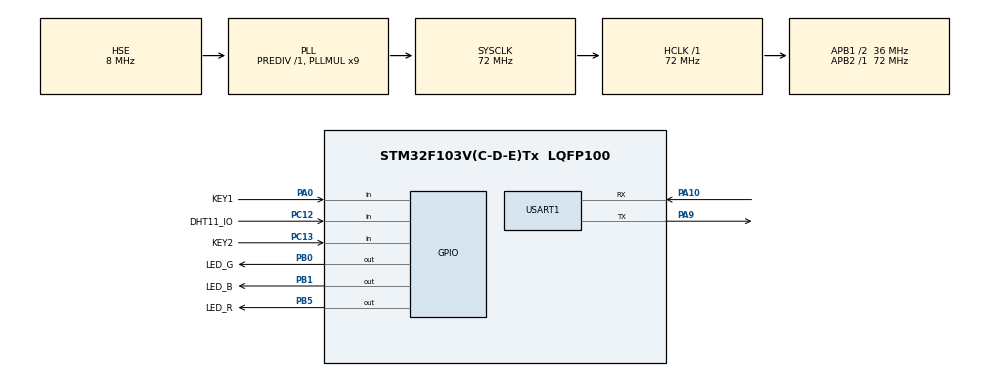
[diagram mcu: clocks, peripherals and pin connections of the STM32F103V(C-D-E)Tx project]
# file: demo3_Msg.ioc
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Mcu.Family=STM32F1
Mcu.Name=STM32F103V(C-D-E)Tx
Mcu.Package=LQFP100
NVIC.PriorityGroup=NVIC_PRIORITYGROUP_1
NVIC.USART1_IRQn=true\:0\:0\:false\:false\:true\:true\:true\:true
OSC_IN.Mode=HSE-External-Oscillator
OSC_IN.Signal=RCC_OSC_IN
OSC_OUT.Mode=HSE-External-Oscillator
OSC_OUT.Signal=RCC_OSC_OUT
PA0-WKUP.GPIO_Label=KEY1
PA0-WKUP.GPIO_PuPd=GPIO_PULLUP
PA0-WKUP.Signal=GPIO_Input
PA10.Mode=Asynchronous
PA10.Signal=USART1_RX
PA13.Mode=JTAG_5_pins
PA13.Signal=SYS_JTMS-SWDIO
PA14.Mode=JTAG_5_pins
PA14.Signal=SYS_JTCK-SWCLK
PA15.Mode=JTAG_5_pins
PA15.Signal=SYS_JTDI
PA9.Mode=Asynchronous
PA9.Signal=USART1_TX
PB0.GPIO_Label=LED_G
PB0.PinState=GPIO_PIN_SET
PB0.Signal=GPIO_Output
PB1.GPIO_Label=LED_B
PB1.PinState=GPIO_PIN_SET
PB1.Signal=GPIO_Output
PB3.Mode=JTAG_5_pins
PB3.Signal=SYS_JTDO-TRACESWO
PB4.Mode=JTAG_5_pins
PB4.Signal=SYS_NJTRST
PB5.GPIO_Label=LED_R
PB5.PinState=GPIO_PIN_SET
PB5.Signal=GPIO_Output
PC12.GPIO_Label=DHT11_IO
PC12.GPIO_PuPd=GPIO_PULLUP
PC12.Signal=GPIO_Input
PC13-TAMPER-RTC.GPIO_Label=KEY2
PC13-TAMPER-RTC.GPIO_PuPd=GPIO_PULLUP
PC13-TAMPER-RTC.Signal=GPIO_Input
ProjectManager.HeapSize=0x200
ProjectManager.StackSize=0x400
ProjectManager.TargetToolchain=MDK-ARM V5.32
RCC.AHBFreq_Value=72000000
RCC.APB1CLKDivider=RCC_HCLK_DIV2
RCC.APB1Freq_Value=36000000
RCC.APB1TimFreq_Value=72000000
RCC.APB2Freq_Value=72000000
RCC.APB2TimFreq_Value=72000000
RCC.HCLKFreq_Value=72000000
RCC.PLLMUL=RCC_PLL_MUL9
RCC.PLLSourceVirtual=RCC_PLLSOURCE_HSE
RCC.SYSCLKFreq_VALUE=72000000
RCC.SYSCLKSource=RCC_SYSCLKSOURCE_PLLCLK
RCC.USBFreq_Value=72000000
TIM4.Prescaler=71
USART1.VirtualMode=VM_ASYNC
VP_TIM4_VS_ClockSourceINT.Mode=Internal
board=custom

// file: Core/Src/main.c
/* USER CODE BEGIN Header */
/**
  ******************************************************************************
  * @file           : main.c
  * @brief          : Main program body
  ******************************************************************************
  * @attention
  *
  * Copyright (c) 2023 STMicroelectronics.
  * All rights reserved.
  *
  * This software is licensed under terms that can be found in the LICENSE file
  * in the root directory of this software component.
  * If no LICENSE file comes with this software, it is provided AS-IS.
  *
  ******************************************************************************
  */
/* USER CODE END Header */
#include "main.h"

/* USER CODE BEGIN Includes */
#include "elog.h"
#include "dht11.h"
#include <stdio.h>
#include "dyn_mem.h"
#include "vMsgExec.h"
#include "app.h"

#define LOG_TAG "WIRELESS"
/* USER CODE END Includes */

TIM_HandleTypeDef htim4;

UART_HandleTypeDef huart1;

void SystemClock_Config(void);
static void MX_GPIO_Init(void);
static void MX_TIM4_Init(void);
static void MX_USART1_UART_Init(void);

/* USER CODE BEGIN 0 */

int fputc(int ch, FILE *f)
{
  HAL_UART_Transmit(&huart1, (uint8_t *)&ch, 1, 0xffff);
  return ch;
}

extern uint32_t os_time;
uint32_t HAL_GetTick(void){
  return os_time;
}

  typedef struct dht11_t {
    uint8_t humi;
    uint8_t temp;
  } dht11_t;

  dht11_t dht11 = {0};

/* USER CODE END 0 */

int main(void)
{

  /* MCU Configuration--------------------------------------------------------*/

  /* Reset of all peripherals, Initializes the Flash interface and the Systick. */
  HAL_Init();

  /* Configure the system clock */
  SystemClock_Config();

  /* USER CODE BEGIN SysInit */
    /* initialize EasyLogger */

  /* USER CODE END SysInit */

  /* Initialize all configured peripherals */
  MX_GPIO_Init();
  MX_TIM4_Init();
  MX_USART1_UART_Init();
  /* USER CODE BEGIN 2 */

  elog_init();
  /* set EasyLogger log format */
  elog_set_fmt(ELOG_LVL_ASSERT, ELOG_FMT_ALL);
  elog_set_fmt(ELOG_LVL_ERROR, ELOG_FMT_LVL | ELOG_FMT_TAG | ELOG_FMT_TIME);
  elog_set_fmt(ELOG_LVL_WARN, ELOG_FMT_LVL | ELOG_FMT_TAG | ELOG_FMT_TIME);
  elog_set_fmt(ELOG_LVL_INFO, ELOG_FMT_LVL | ELOG_FMT_TAG | ELOG_FMT_TIME);
  elog_set_fmt(ELOG_LVL_DEBUG, ELOG_FMT_ALL & ~ELOG_FMT_FUNC);
  elog_set_fmt(ELOG_LVL_VERBOSE, ELOG_FMT_ALL & ~ELOG_FMT_FUNC);
  /* start EasyLogger */
  elog_start();

  dm_init();
  MsgExec_Init();
  VWM_TimerInit();
  app_init();
	osKernelStart();

  log_i("system is running!!!");

  /* USER CODE END 2 */

  /* Infinite loop */
  /* USER CODE BEGIN WHILE */
  while (1)
  {
    MsgExec_Exec();

    /* USER CODE END WHILE */

  }
}

void SystemClock_Config(void)
{
  RCC_OscInitTypeDef RCC_OscInitStruct = {0};
  RCC_ClkInitTypeDef RCC_ClkInitStruct = {0};

  /** Initializes the RCC Oscillators according to the specified parameters
  * in the RCC_OscInitTypeDef structure.
  */
  RCC_OscInitStruct.OscillatorType = RCC_OSCILLATORTYPE_HSE;
  RCC_OscInitStruct.HSEState = RCC_HSE_ON;
  RCC_OscInitStruct.HSEPredivValue = RCC_HSE_PREDIV_DIV1;
  RCC_OscInitStruct.HSIState = RCC_HSI_ON;
  RCC_OscInitStruct.PLL.PLLState = RCC_PLL_ON;
  RCC_OscInitStruct.PLL.PLLSource = RCC_PLLSOURCE_HSE;
  RCC_OscInitStruct.PLL.PLLMUL = RCC_PLL_MUL9;
  if (HAL_RCC_OscConfig(&RCC_OscInitStruct) != HAL_OK)
  {
    Error_Handler();
  }

  /** Initializes the CPU, AHB and APB buses clocks
  */
  RCC_ClkInitStruct.ClockType = RCC_CLOCKTYPE_HCLK|RCC_CLOCKTYPE_SYSCLK
                              |RCC_CLOCKTYPE_PCLK1|RCC_CLOCKTYPE_PCLK2;
  RCC_ClkInitStruct.SYSCLKSource = RCC_SYSCLKSOURCE_PLLCLK;
  RCC_ClkInitStruct.AHBCLKDivider = RCC_SYSCLK_DIV1;
  RCC_ClkInitStruct.APB1CLKDivider = RCC_HCLK_DIV2;
  RCC_ClkInitStruct.APB2CLKDivider = RCC_HCLK_DIV1;

  if (HAL_RCC_ClockConfig(&RCC_ClkInitStruct, FLASH_LATENCY_2) != HAL_OK)
  {
    Error_Handler();
  }
}

static void MX_TIM4_Init(void)
{

  TIM_ClockConfigTypeDef sClockSourceConfig = {0};
  TIM_MasterConfigTypeDef sMasterConfig = {0};

  htim4.Instance = TIM4;
  htim4.Init.Prescaler = 71;
  htim4.Init.CounterMode = TIM_COUNTERMODE_UP;
  htim4.Init.Period = 65535;
  htim4.Init.ClockDivision = TIM_CLOCKDIVISION_DIV1;
  htim4.Init.AutoReloadPreload = TIM_AUTORELOAD_PRELOAD_DISABLE;
  if (HAL_TIM_Base_Init(&htim4) != HAL_OK)
  {
    Error_Handler();
  }
  sClockSourceConfig.ClockSource = TIM_CLOCKSOURCE_INTERNAL;
  if (HAL_TIM_ConfigClockSource(&htim4, &sClockSourceConfig) != HAL_OK)
  {
    Error_Handler();
  }
  sMasterConfig.MasterOutputTrigger = TIM_TRGO_RESET;
  sMasterConfig.MasterSlaveMode = TIM_MASTERSLAVEMODE_DISABLE;
  if (HAL_TIMEx_MasterConfigSynchronization(&htim4, &sMasterConfig) != HAL_OK)
  {
    Error_Handler();
  }

}

static void MX_USART1_UART_Init(void)
{

  huart1.Instance = USART1;
  huart1.Init.BaudRate = 115200;
  huart1.Init.WordLength = UART_WORDLENGTH_8B;
  huart1.Init.StopBits = UART_STOPBITS_1;
  huart1.Init.Parity = UART_PARITY_NONE;
  huart1.Init.Mode = UART_MODE_TX_RX;
  huart1.Init.HwFlowCtl = UART_HWCONTROL_NONE;
  huart1.Init.OverSampling = UART_OVERSAMPLING_16;
  if (HAL_UART_Init(&huart1) != HAL_OK)
  {
    Error_Handler();
  }

}

static void MX_GPIO_Init(void)
{
  GPIO_InitTypeDef GPIO_InitStruct = {0};

  /* GPIO Ports Clock Enable */
  __HAL_RCC_GPIOC_CLK_ENABLE();
  __HAL_RCC_GPIOA_CLK_ENABLE();
  __HAL_RCC_GPIOB_CLK_ENABLE();

  /*Configure GPIO pin Output Level */
  HAL_GPIO_WritePin(GPIOB, LED_G_Pin|LED_B_Pin|LED_R_Pin, GPIO_PIN_SET);

  /*Configure GPIO pins : KEY2_Pin DHT11_IO_Pin */
  GPIO_InitStruct.Pin = KEY2_Pin|DHT11_IO_Pin;
  GPIO_InitStruct.Mode = GPIO_MODE_INPUT;
  GPIO_InitStruct.Pull = GPIO_PULLUP;
  HAL_GPIO_Init(GPIOC, &GPIO_InitStruct);

  /*Configure GPIO pin : KEY1_Pin */
  GPIO_InitStruct.Pin = KEY1_Pin;
  GPIO_InitStruct.Mode = GPIO_MODE_INPUT;
  GPIO_InitStruct.Pull = GPIO_PULLUP;
  HAL_GPIO_Init(KEY1_GPIO_Port, &GPIO_InitStruct);

  /*Configure GPIO pins : LED_G_Pin LED_B_Pin LED_R_Pin */
  GPIO_InitStruct.Pin = LED_G_Pin|LED_B_Pin|LED_R_Pin;
  GPIO_InitStruct.Mode = GPIO_MODE_OUTPUT_PP;
  GPIO_InitStruct.Pull = GPIO_NOPULL;
  GPIO_InitStruct.Speed = GPIO_SPEED_FREQ_LOW;
  HAL_GPIO_Init(GPIOB, &GPIO_InitStruct);

}

void Error_Handler(void)
{
  __disable_irq();
  while (1)
  {
  }
}
